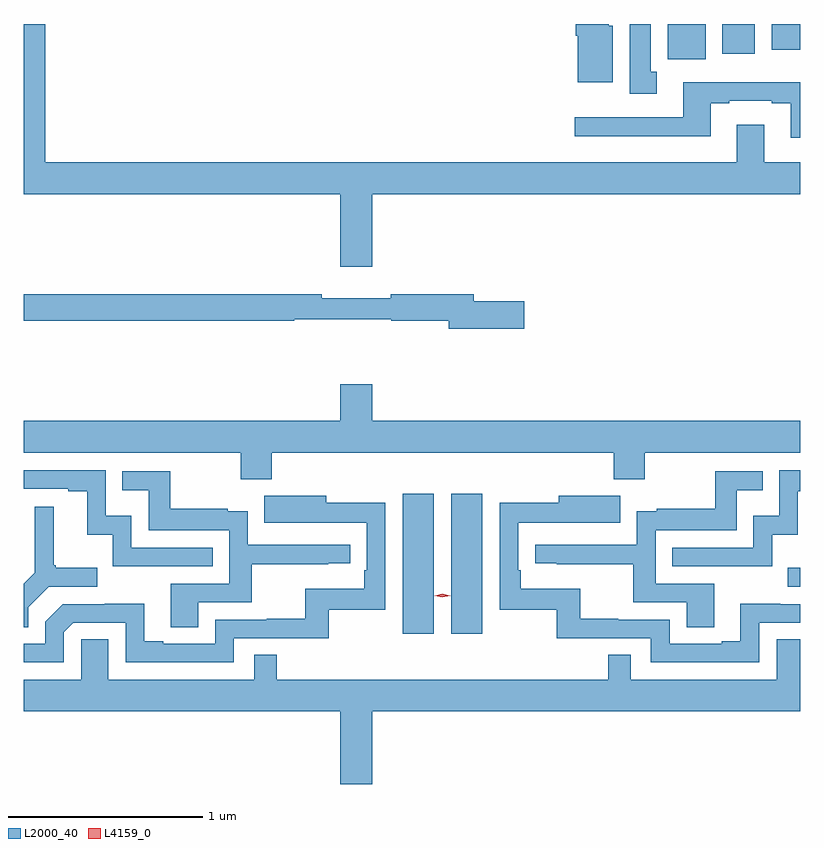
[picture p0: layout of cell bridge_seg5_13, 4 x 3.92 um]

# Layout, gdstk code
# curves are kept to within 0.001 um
import gdstk
lib = gdstk.Library(unit=1e-6, precision=1e-09)
def R(c, l, rs):  # rectangles x0, y0, x1, y1
    for r in rs: c.add(gdstk.rectangle(r[:2], r[2:], *l))
def P(c, l, *ps):  # polygons
    for p in ps: c.add(gdstk.Polygon(p, *l))
L2000_40 = (2000, 40)
L4159_0 = (4159, 0)

bridge_seg5_13 = lib.new_cell('bridge_seg5_13')
R(bridge_seg5_13, L2000_40, [(896.597,855.828,896.758,856.549), (896.846,855.828,897.007,856.549), (898.581,856.071,898.645,856.168), (897.962,858.788,898.159,858.969), (898.244,858.816,898.411,858.969), (898.499,858.836,898.645,858.969)])
P(bridge_seg5_13, L2000_40, [(896.44,858.092),(898.645,858.092),(898.645,858.256),(898.459,858.256),(898.459,858.451),(898.319,858.451),(898.319,858.256),(894.755,858.256),(894.755,858.969),(894.645,858.969),(894.645,858.092),(896.276,858.092),(896.276,857.718),(896.44,857.718)],
  [(897.679,858.96),(897.658,858.96),(897.658,858.969),(897.488,858.969),(897.488,858.908),(897.5,858.908),(897.5,858.668),(897.679,858.668)],
  [(897.907,858.722),(897.874,858.722),(897.874,858.969),(897.767,858.969),(897.767,858.609),(897.907,858.609)],
  [(898.645,858.67),(898.043,858.67),(898.043,858.489),(897.483,858.489),(897.483,858.392),(898.183,858.392),(898.183,858.561),(898.279,858.561),(898.279,858.573),(898.499,858.573),(898.499,858.561),(898.595,858.561),(898.595,858.384),(898.645,858.384)],
  [(897.223,857.54),(896.962,857.54),(896.962,857.576),(896.536,857.576),(896.536,857.557),(896.18,857.557),(896.18,857.576),(894.645,857.576),(894.645,857.44),(896.038,857.44),(896.038,857.448),(896.538,857.448),(896.538,857.44),(896.834,857.44),(896.834,857.398),(897.223,857.398)],
  [(895.922,856.76),(897.683,856.76),(897.683,856.625),(897.843,856.625),(897.843,856.76),(898.645,856.76),(898.645,856.924),(896.44,856.924),(896.44,857.113),(896.276,857.113),(896.276,856.924),(894.645,856.924),(894.645,856.76),(895.762,856.76),(895.762,856.625),(895.922,856.625)],
  [(895.619,856.272),(895.2,856.272),(895.2,856.435),(895.068,856.435),(895.068,856.671),(894.645,856.671),(894.645,856.575),(894.875,856.575),(894.875,856.563),(894.971,856.563),(894.971,856.337),(895.104,856.337),(895.104,856.176),(895.619,856.176)],
  [(898.5,856.337),(898.633,856.337),(898.633,856.563),(898.645,856.563),(898.645,856.671),(898.536,856.671),(898.536,856.435),(898.404,856.435),(898.404,856.272),(897.985,856.272),(897.985,856.176),(898.5,856.176)],
  [(895.543,855.99),(895.82,855.99),(895.82,856.186),(896.213,856.186),(896.213,856.191),(896.326,856.191),(896.326,856.287),(895.8,856.287),(895.8,856.459),(895.697,856.459),(895.697,856.471),(895.399,856.471),(895.399,856.665),(895.153,856.665),(895.153,856.568),(895.288,856.568),(895.288,856.362),(895.704,856.362),(895.704,856.086),(895.403,856.086),(895.403,855.862),(895.543,855.862)],
  [(898.201,856.086),(897.9,856.086),(897.9,856.362),(898.317,856.362),(898.317,856.568),(898.451,856.568),(898.451,856.665),(898.206,856.665),(898.206,856.471),(897.907,856.471),(897.907,856.459),(897.804,856.459),(897.804,856.287),(897.279,856.287),(897.279,856.191),(897.391,856.191),(897.391,856.186),(897.784,856.186),(897.784,855.99),(898.061,855.99),(898.061,855.862),(898.201,855.862)],
  [(898.434,855.885),(898.645,855.885),(898.645,855.981),(898.542,855.981),(898.542,855.983),(898.337,855.983),(898.337,855.79),(898.241,855.79),(898.241,855.777),(897.972,855.777),(897.972,855.9),(897.707,855.9),(897.707,855.905),(897.511,855.905),(897.511,856.06),(897.206,856.06),(897.206,856.156),(897.192,856.156),(897.192,856.401),(897.505,856.401),(897.505,856.4),(897.719,856.4),(897.719,856.54),(897.401,856.54),(897.401,856.502),(897.096,856.502),(897.096,855.951),(897.39,855.951),(897.39,855.804),(897.876,855.804),(897.876,855.681),(898.434,855.681)],
  [(894.852,855.837),(894.9,855.885),(895.17,855.885),(895.17,855.681),(895.728,855.681),(895.728,855.804),(896.215,855.804),(896.215,855.951),(896.508,855.951),(896.508,856.502),(896.203,856.502),(896.203,856.54),(895.885,856.54),(895.885,856.4),(896.412,856.401),(896.412,856.156),(896.399,856.156),(896.399,856.06),(896.094,856.06),(896.094,855.905),(895.897,855.905),(895.897,855.9),(895.632,855.9),(895.632,855.777),(895.363,855.777),(895.363,855.79),(895.267,855.79),(895.267,855.983),(895.062,855.983),(895.062,855.981),(894.846,855.981),(894.756,855.891),(894.756,855.777),(894.645,855.777),(894.645,855.681),(894.852,855.681)],
  [(894.667,855.964),(894.774,856.071),(895.024,856.071),(895.024,856.168),(894.811,856.168),(894.811,856.18),(894.799,856.18),(894.799,856.483),(894.702,856.483),(894.702,856.143),(894.645,856.086),(894.645,855.862),(894.667,855.862)],
  [(896.44,855.428),(898.645,855.428),(898.645,855.8),(898.523,855.8),(898.523,855.592),(897.771,855.592),(897.771,855.719),(897.655,855.719),(897.655,855.592),(895.949,855.592),(895.949,855.719),(895.833,855.719),(895.833,855.592),(895.081,855.592),(895.081,855.8),(894.942,855.8),(894.942,855.592),(894.645,855.592),(894.645,855.428),(896.276,855.428),(896.276,855.054),(896.44,855.054)])
P(bridge_seg5_13, L4159_0, [(896.802,856.015),(896.762,856.024),(896.762,856.025),(896.762,856.025),(896.802,856.035),(896.842,856.025),(896.842,856.025),(896.842,856.024)])

lib.write_gds('bridge_seg5_13.gds')
